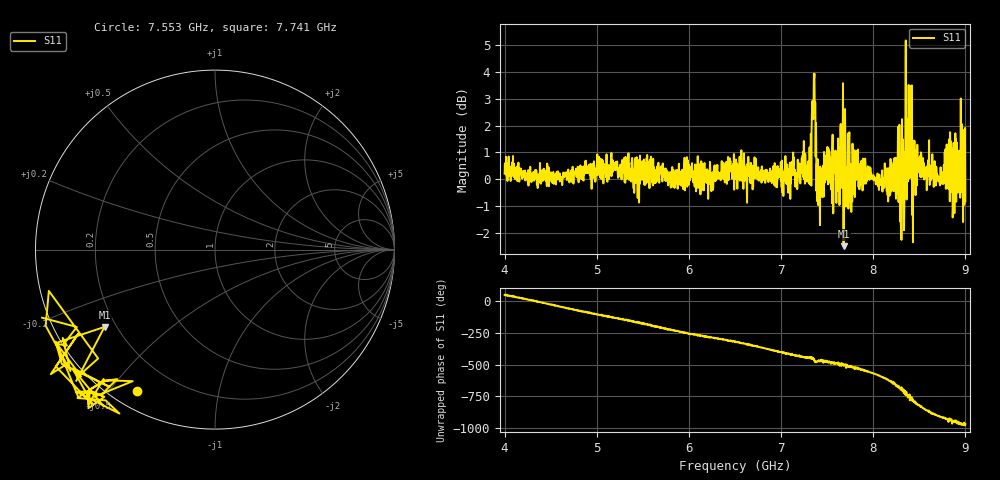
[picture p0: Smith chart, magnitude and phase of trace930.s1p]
! Created with skrf 1.8.0 (http://scikit-rf.org).
# Hz S RI R 50.0
!freq ReS11 ImS11
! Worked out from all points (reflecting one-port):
!   1601 points, 4 GHz to 9 GHz, reference 50 ohm
!   lowest |S11| = -2.5 dB at 7.678 GHz (marker M1), VSWR 7.04, Z = 7.79 - j15.4 ohm
!   phase of S11 starts at 51 deg and turns -1020 deg over the sweep
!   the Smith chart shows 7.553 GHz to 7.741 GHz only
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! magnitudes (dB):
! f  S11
! 4 GHz  0.2
! 4.625 GHz  -0.2
! 5.25 GHz  0.1
! 5.875 GHz  -0.1
! 6.5 GHz  0.3
! 7.125 GHz  0.3
! 7.294 GHz  0.4
! 7.356 GHz  3.9
! 7.397 GHz  0.7
! 7.416 GHz  -0.7
! 7.512 GHz  1.2
! 7.591 GHz  1.1
! 7.647 GHz  2.1
! 7.678 GHz  -2.5
! 7.75 GHz  -0.3
! 7.891 GHz  0.4
! 8.169 GHz  -0.4
! 8.262 GHz  -0.5
! 8.316 GHz  0.2
! 8.334 GHz  -1.9
! 8.356 GHz  0.2
! 8.375 GHz  -0.1
! 8.447 GHz  1.4
! 8.497 GHz  0.7
! 8.722 GHz  -0.2
! 8.8 GHz  0.1
! 8.956 GHz  -0.1
! 9 GHz  -0.8
